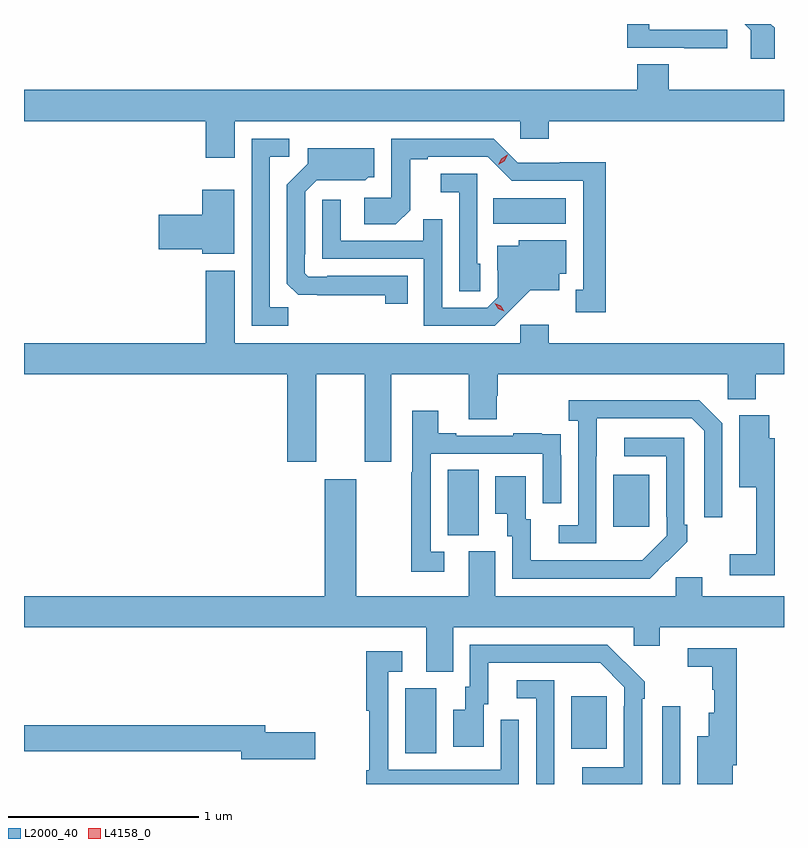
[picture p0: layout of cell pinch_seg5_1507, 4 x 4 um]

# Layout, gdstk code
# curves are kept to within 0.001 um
import gdstk
lib = gdstk.Library(unit=1e-6, precision=1e-09)
def R(c, l, rs):  # rectangles x0, y0, x1, y1
    for r in rs: c.add(gdstk.rectangle(r[:2], r[2:], *l))
def P(c, l, *ps):  # polygons
    for p in ps: c.add(gdstk.Polygon(p, *l))
L2000_40 = (2000, 40)
L4158_0 = (4158, 0)

pinch_seg5_1507 = lib.new_cell('pinch_seg5_1507')
R(pinch_seg5_1507, L2000_40, [(305.865,866.591,305.961,867.001), (304.514,866.752,304.678,867.096), (305.387,866.777,305.575,867.052), (304.736,867.901,304.9,868.244), (305.609,867.945,305.797,868.219), (304.978,869.54,305.359,869.674)])
P(pinch_seg5_1507, L2000_40, [(306.208,870.561),(305.799,870.561),(305.799,870.591),(305.683,870.591),(305.683,870.465),(305.983,870.465),(305.983,870.463),(306.208,870.463)],
  [(306.458,870.57),(306.437,870.591),(306.301,870.591),(306.333,870.559),(306.333,870.408),(306.458,870.408)],
  [(303.616,870.08),(305.118,870.08),(305.118,869.987),(305.27,869.987),(305.27,870.08),(306.507,870.08),(306.507,870.244),(305.9,870.244),(305.9,870.38),(305.735,870.38),(305.735,870.244),(302.507,870.244),(302.507,870.08),(303.464,870.08),(303.464,869.886),(303.616,869.886)],
  [(305.569,869.864),(305.328,869.864),(305.328,869.862),(305.106,869.862),(304.98,869.988),(304.44,869.988),(304.44,869.676),(304.299,869.676),(304.299,869.536),(304.463,869.536),(304.539,869.612),(304.539,869.88),(304.633,869.88),(304.633,869.892),(304.947,869.892),(305.073,869.766),(305.45,869.766),(305.45,869.193),(305.411,869.193),(305.411,869.073),(305.569,869.073)],
  [(303.897,869.099),(303.801,869.099),(303.801,869.892),(303.904,869.892),(303.904,869.988),(303.705,869.988),(303.705,869.004),(303.897,869.004)],
  [(304.526,869.265),(304.102,869.265),(304.102,869.262),(304.002,869.262),(303.984,869.28),(303.984,869.38),(303.987,869.38),(303.987,869.709),(304.047,869.769),(304.304,869.768),(304.32,869.784),(304.351,869.784),(304.351,869.938),(304.001,869.938),(304.001,869.856),(303.891,869.746),(303.891,869.224),(303.95,869.165),(304.408,869.164),(304.408,869.118),(304.526,869.118)],
  [(304.908,869.328),(304.893,869.328),(304.893,869.802),(304.701,869.802),(304.701,869.705),(304.797,869.705),(304.797,869.185),(304.908,869.185)],
  [(303.613,869.719),(303.446,869.719),(303.446,869.588),(303.216,869.588),(303.216,869.405),(303.446,869.405),(303.446,869.381),(303.613,869.381)],
  [(305.068,869.087),(305.171,869.189),(305.323,869.189),(305.323,869.276),(305.362,869.276),(305.362,869.452),(305.112,869.452),(305.112,869.425),(304.997,869.425),(304.997,869.296),(305.001,869.296),(305.001,869.154),(304.944,869.097),(304.707,869.097),(304.707,869.564),(304.609,869.564),(304.609,869.451),(304.173,869.451),(304.173,869.665),(304.077,869.665),(304.077,869.355),(304.611,869.355),(304.611,869.004),(304.984,869.004)],
  [(304.045,868.748),(304.301,868.748),(304.301,868.287),(304.441,868.287),(304.441,868.748),(304.847,868.748),(304.847,868.51),(304.995,868.51),(304.995,868.635),(305,868.635),(305,868.748),(306.21,868.748),(306.21,868.617),(306.357,868.617),(306.357,868.748),(306.507,868.748),(306.507,868.912),(305.27,868.912),(305.27,869.008),(305.118,869.008),(305.118,868.912),(303.616,868.912),(303.616,869.293),(303.464,869.293),(303.464,868.912),(302.507,868.912),(302.507,868.748),(303.893,868.748),(303.893,868.287),(304.045,868.287)],
  [(305.52,868.315),(305.521,868.515),(306.021,868.515),(306.087,868.449),(306.087,867.996),(306.183,867.996),(306.183,868.489),(306.06,868.612),(305.373,868.612),(305.373,868.502),(305.424,868.502),(305.424,867.954),(305.322,867.954),(305.322,867.858),(305.52,867.858)],
  [(304.72,867.813),(304.647,867.813),(304.647,868.329),(305.238,868.329),(305.238,868.068),(305.334,868.068),(305.334,868.322),(305.333,868.322),(305.333,868.431),(305.231,868.431),(305.231,868.438),(305.083,868.438),(305.083,868.425),(304.783,868.425),(304.783,868.438),(304.687,868.438),(304.687,868.555),(304.551,868.555),(304.551,868.232),(304.546,868.232),(304.546,867.708),(304.72,867.708)],
  [(306.459,868.411),(306.43,868.411),(306.43,868.531),(306.272,868.531),(306.272,868.154),(306.362,868.154),(306.362,867.799),(306.222,867.799),(306.222,867.69),(306.459,867.69)],
  [(305.891,867.763),(305.892,867.762),(305.997,867.867),(305.997,867.955),(305.982,867.955),(305.982,868.413),(305.667,868.413),(305.667,868.317),(305.886,868.317),(305.886,867.997),(305.889,867.997),(305.889,867.897),(305.761,867.769),(305.173,867.768),(305.173,867.984),(305.149,867.984),(305.149,868.21),(304.988,868.21),(304.988,868.013),(305.051,868.013),(305.051,867.894),(305.076,867.894),(305.076,867.672),(305.8,867.672)],
  [(304.765,867.416),(305.715,867.416),(305.715,867.318),(305.854,867.318),(305.854,867.416),(306.507,867.416),(306.507,867.58),(306.076,867.58),(306.076,867.678),(305.937,867.678),(305.937,867.58),(304.987,867.58),(304.987,867.816),(304.847,867.816),(304.847,867.58),(304.255,867.58),(304.255,868.195),(304.091,868.195),(304.091,867.58),(302.507,867.58),(302.507,867.416),(304.625,867.416),(304.625,867.181),(304.765,867.181)],
  [(305.76,867.041),(305.775,867.041),(305.775,867.129),(305.578,867.324),(304.854,867.324),(304.854,867.102),(304.829,867.102),(304.829,866.983),(304.766,866.983),(304.766,866.787),(304.927,866.787),(304.927,867.012),(304.951,867.012),(304.951,867.228),(305.539,867.228),(305.667,867.099),(305.667,866.999),(305.664,866.999),(305.664,866.679),(305.445,866.679),(305.445,866.591),(305.76,866.591)],
  [(306.238,866.689),(306.257,866.689),(306.257,867.306),(306,867.306),(306,867.208),(306.129,867.208),(306.129,867.087),(306.14,867.087),(306.14,866.965),(306.11,866.965),(306.11,866.842),(306.05,866.842),(306.05,866.591),(306.238,866.591)],
  [(305.111,866.674),(305.112,866.674),(305.112,866.929),(305.016,866.929),(305.016,866.667),(304.425,866.667),(304.425,867.183),(304.498,867.183),(304.498,867.289),(304.309,867.289),(304.309,866.976),(304.324,866.976),(304.324,866.664),(304.309,866.664),(304.309,866.591),(305.111,866.591)],
  [(305.299,866.681),(305.298,866.681),(305.298,867.138),(305.1,867.138),(305.1,867.042),(305.202,867.042),(305.202,866.591),(305.299,866.591)],
  [(304.039,866.864),(303.778,866.864),(303.778,866.9),(302.507,866.9),(302.507,866.764),(303.65,866.764),(303.65,866.722),(304.039,866.722)])
P(pinch_seg5_1507, L4158_0, [(305.002,869.85),(305.002,869.85),(305.02,869.883),(305.051,869.902),(305.052,869.902),(305.052,869.902),(305.034,869.869),(305.003,869.85)],
  [(305.034,869.078),(305.003,869.092),(304.985,869.122),(304.985,869.122),(304.985,869.122),(305.016,869.107),(305.034,869.078),(305.034,869.078)])

lib.write_gds('pinch_seg5_1507.gds')
